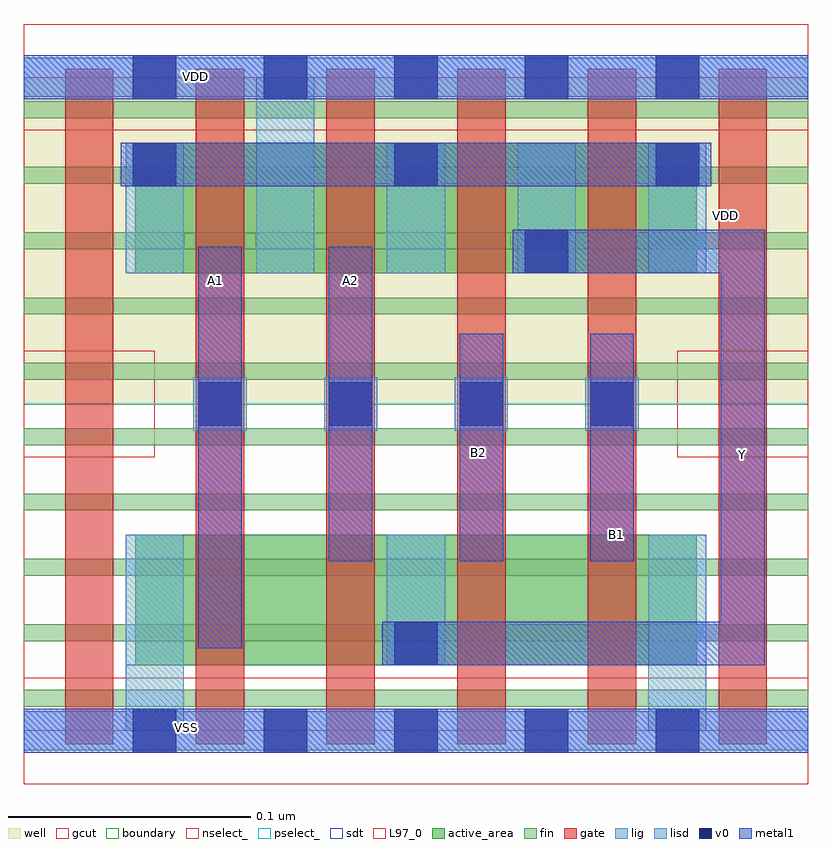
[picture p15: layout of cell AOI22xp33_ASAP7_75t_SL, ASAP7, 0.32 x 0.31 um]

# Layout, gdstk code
import gdstk
lib = gdstk.Library(unit=1e-6, precision=2.5e-10)
def R(c, l, rs):  # rectangles x0, y0, x1, y1
    for r in rs: c.add(gdstk.rectangle(r[:2], r[2:], *l))
def A(c, l, x, y, w, h, nx, ny, dx, dy):  # array of equal rectangles
    R(c, l, [(x+i*dx, y+j*dy, x+i*dx+w, y+j*dy+h) for i in range(nx) for j in range(ny)])
def P(c, l, *ps):  # polygons
    for p in ps: c.add(gdstk.Polygon(p, *l))
well = (1, 0)
fin = (2, 0)
gate = (7, 0)
gcut = (10, 0)
active_area = (11, 0)
nselect_ = (12, 0)
pselect_ = (13, 0)
lig = (16, 0)
lisd = (17, 0)
v0 = (18, 0)
metal1 = (19, 0)
sdt = (88, 0)
L97_0 = (97, 0)
boundary = (100, 0)

aoi22xp33_asap7_75t_sl = lib.new_cell('AOI22xp33_ASAP7_75t_SL')
R(aoi22xp33_asap7_75t_sl, well, [(0,0.135,0.324,0.27)])
A(aoi22xp33_asap7_75t_sl, fin, 0, 0.01, 0.324, 0.007, 1, 10, 0, 0.027)
A(aoi22xp33_asap7_75t_sl, gate, 0.017, -0.0055, 0.02, 0.279, 6, 1, 0.054, 0)
R(aoi22xp33_asap7_75t_sl, gcut, [(0,-0.022,0.324,0.022), (0,0.113,0.054,0.157), (0.27,0.113,0.324,0.157), (0,0.248,0.324,0.292)])
R(aoi22xp33_asap7_75t_sl, active_area, [(0.046,0.027,0.278,0.081), (0.046,0.189,0.278,0.243)])
R(aoi22xp33_asap7_75t_sl, nselect_, [(0,0,0.324,0.135)])
R(aoi22xp33_asap7_75t_sl, pselect_, [(0,0.135,0.324,0.27)])
A(aoi22xp33_asap7_75t_sl, lig, 0.07, 0.124, 0.022, 0.022, 4, 1, 0.054, 0)
R(aoi22xp33_asap7_75t_sl, lig, [(0,-0.008,0.324,0.008), (0,0.262,0.324,0.278)])
A(aoi22xp33_asap7_75t_sl, lisd, 0.15, 0.189, 0.024, 0.054, 3, 1, 0.054, 0)
R(aoi22xp33_asap7_75t_sl, lisd, [(0.042,0,0.066,0.081), (0.258,0,0.282,0.081), (0.15,0.027,0.174,0.081), (0.042,0.189,0.066,0.243), (0.096,0.189,0.12,0.27)])
A(aoi22xp33_asap7_75t_sl, v0, 0.045, -0.009, 0.018, 0.018, 5, 2, 0.054, 0.27)
A(aoi22xp33_asap7_75t_sl, v0, 0.072, 0.126, 0.018, 0.018, 4, 1, 0.054, 0)
A(aoi22xp33_asap7_75t_sl, v0, 0.045, 0.225, 0.018, 0.018, 3, 1, 0.108, 0)
R(aoi22xp33_asap7_75t_sl, v0, [(0.153,0.027,0.171,0.045), (0.207,0.189,0.225,0.207)])
R(aoi22xp33_asap7_75t_sl, metal1, [(0,-0.009,0.324,0.009), (0.072,0.034,0.09,0.2), (0.126,0.07,0.144,0.2), (0.18,0.07,0.198,0.164), (0.234,0.07,0.252,0.164), (0.04,0.225,0.284,0.243), (0,0.261,0.324,0.279)])
P(aoi22xp33_asap7_75t_sl, metal1, [(0.306,0.207),(0.202,0.207),(0.202,0.189),(0.288,0.189),(0.288,0.045),(0.148,0.045),(0.148,0.027),(0.306,0.027)])
A(aoi22xp33_asap7_75t_sl, sdt, 0.042, 0.027, 0.024, 0.054, 3, 1, 0.108, 0)
A(aoi22xp33_asap7_75t_sl, sdt, 0.042, 0.189, 0.024, 0.054, 5, 1, 0.054, 0)
R(aoi22xp33_asap7_75t_sl, L97_0, [(0,0,0.324,0.27)])
R(aoi22xp33_asap7_75t_sl, boundary, [(0,0,0.324,0.27)])
aoi22xp33_asap7_75t_sl.add(gdstk.Label('VDD', (0.29,0.213), layer=1, texttype=251))
aoi22xp33_asap7_75t_sl.add(gdstk.Label('A1', (0.079,0.186), layer=19, texttype=251))
aoi22xp33_asap7_75t_sl.add(gdstk.Label('Y', (0.297,0.114), layer=19, texttype=251))
aoi22xp33_asap7_75t_sl.add(gdstk.Label('A2', (0.135,0.186), layer=19, texttype=251))
aoi22xp33_asap7_75t_sl.add(gdstk.Label('VDD', (0.071,0.2705), layer=19, texttype=251))
aoi22xp33_asap7_75t_sl.add(gdstk.Label('B2', (0.188,0.115), layer=19, texttype=251))
aoi22xp33_asap7_75t_sl.add(gdstk.Label('B1', (0.245,0.081), layer=19, texttype=251))
aoi22xp33_asap7_75t_sl.add(gdstk.Label('VSS', (0.067,0.0015), layer=19, texttype=251))
aoi22xp33_asap7_75t_sl.add(gdstk.Label('VSS', (0.359,0.212), layer=3, texttype=251))

lib.write_gds('AOI22xp33_ASAP7_75t_SL.gds')
